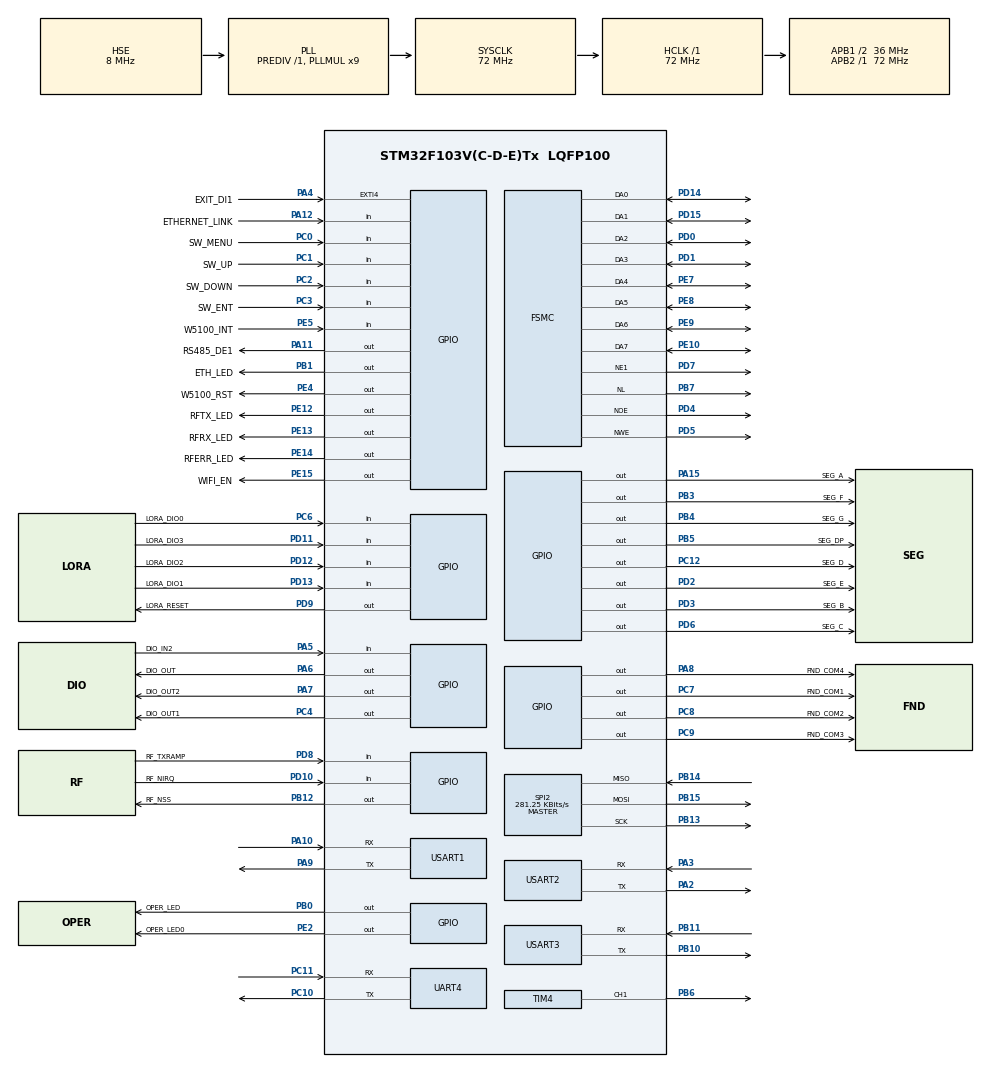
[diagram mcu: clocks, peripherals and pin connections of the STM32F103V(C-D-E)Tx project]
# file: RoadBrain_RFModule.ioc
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ADC1.Channel-0\#ChannelRegularConversion=ADC_CHANNEL_TEMPSENSOR
ADC1.Channel-1\#ChannelRegularConversion=ADC_CHANNEL_VREFINT
ADC1.ContinuousConvMode=ENABLE
ADC1.NbrOfConversion=2
ADC1.NbrOfConversionFlag=1
ADC1.Rank-0\#ChannelRegularConversion=1
ADC1.Rank-1\#ChannelRegularConversion=2
ADC1.SamplingTime-0\#ChannelRegularConversion=ADC_SAMPLETIME_28CYCLES_5
ADC1.SamplingTime-1\#ChannelRegularConversion=ADC_SAMPLETIME_28CYCLES_5
ADC1.master=1
Dma.ADC1.0.Direction=DMA_PERIPH_TO_MEMORY
Dma.ADC1.0.Instance=DMA1_Channel1
Dma.ADC1.0.MemDataAlignment=DMA_MDATAALIGN_WORD
Dma.ADC1.0.MemInc=DMA_MINC_ENABLE
Dma.ADC1.0.Mode=DMA_CIRCULAR
Dma.ADC1.0.PeriphDataAlignment=DMA_PDATAALIGN_HALFWORD
Dma.ADC1.0.PeriphInc=DMA_PINC_DISABLE
Dma.ADC1.0.Priority=DMA_PRIORITY_HIGH
Dma.Request0=ADC1
FSMC.AddressHoldTime1=1
FSMC.AddressSetupTime1=3
FSMC.BusTurnAroundDuration1=0
FSMC.DataSetupTime1=8
FSMC.WriteOperation1=FSMC_WRITE_OPERATION_ENABLE
IWDG.Prescaler=IWDG_PRESCALER_8
Mcu.Family=STM32F1
Mcu.Name=STM32F103V(C-D-E)Tx
Mcu.Package=LQFP100
NVIC.ADC1_2_IRQn=true\:0\:0\:false\:false\:true\:true\:true\:true
NVIC.DMA1_Channel1_IRQn=true\:0\:0\:false\:false\:true\:false\:true\:true
NVIC.EXTI4_IRQn=true\:0\:0\:false\:false\:true\:true\:true\:true
NVIC.PriorityGroup=NVIC_PRIORITYGROUP_4
NVIC.UART4_IRQn=true\:0\:0\:false\:false\:true\:true\:false\:true
NVIC.USART1_IRQn=true\:0\:0\:false\:false\:true\:true\:false\:true
NVIC.USART2_IRQn=true\:0\:0\:false\:false\:true\:true\:false\:true
NVIC.USART3_IRQn=true\:0\:0\:false\:false\:true\:true\:false\:true
OSC_IN.Mode=HSE-External-Oscillator
OSC_IN.Signal=RCC_OSC_IN
OSC_OUT.Mode=HSE-External-Oscillator
OSC_OUT.Signal=RCC_OSC_OUT
PA10.GPIO_PuPd=GPIO_PULLUP
PA10.Mode=Asynchronous
PA10.Signal=USART1_RX
PA11.GPIO_Label=RS485_DE1
PA11.GPIO_PuPd=GPIO_PULLDOWN
PA11.GPIO_Speed=GPIO_SPEED_FREQ_HIGH
PA11.Signal=GPIO_Output
PA12.GPIO_Label=ETHERNET_LINK
PA12.GPIO_PuPd=GPIO_PULLUP
PA12.Signal=GPIO_Input
PA13.Mode=Serial_Wire
PA13.Signal=SYS_JTMS-SWDIO
PA14.Mode=Serial_Wire
PA14.Signal=SYS_JTCK-SWCLK
PA15.GPIO_Label=SEG_A
PA15.GPIO_PuPd=GPIO_PULLUP
PA15.GPIO_Speed=GPIO_SPEED_FREQ_HIGH
PA15.PinState=GPIO_PIN_SET
PA15.Signal=GPIO_Output
PA2.Mode=Asynchronous
PA2.Signal=USART2_TX
PA3.GPIO_PuPd=GPIO_PULLUP
PA3.Mode=Asynchronous
PA3.Signal=USART2_RX
PA4.GPIO_Label=EXIT_DI1
PA4.GPIO_ModeDefaultEXTI=GPIO_MODE_IT_RISING
PA4.Signal=GPXTI4
PA5.GPIO_Label=DIO_IN2
PA5.GPIO_PuPd=GPIO_PULLUP
PA5.Signal=GPIO_Input
PA6.GPIO_Label=DIO_OUT
PA6.GPIO_PuPd=GPIO_PULLUP
PA6.GPIO_Speed=GPIO_SPEED_FREQ_HIGH
PA6.PinState=GPIO_PIN_SET
PA6.Signal=GPIO_Output
PA7.GPIO_Label=DIO_OUT2
PA7.GPIO_PuPd=GPIO_PULLUP
PA7.GPIO_Speed=GPIO_SPEED_FREQ_HIGH
PA7.PinState=GPIO_PIN_SET
PA7.Signal=GPIO_Output
PA8.GPIO_Label=FND_COM4
PA8.GPIO_PuPd=GPIO_PULLUP
PA8.GPIO_Speed=GPIO_SPEED_FREQ_HIGH
PA8.PinState=GPIO_PIN_SET
PA8.Signal=GPIO_Output
PA9.Mode=Asynchronous
PA9.Signal=USART1_TX
PB0.GPIO_Label=OPER_LED
PB0.GPIO_PuPd=GPIO_PULLUP
PB0.GPIO_Speed=GPIO_SPEED_FREQ_HIGH
PB0.PinState=GPIO_PIN_SET
PB0.Signal=GPIO_Output
PB1.GPIO_Label=ETH_LED
PB1.GPIO_PuPd=GPIO_PULLUP
PB1.GPIO_Speed=GPIO_SPEED_FREQ_HIGH
PB1.PinState=GPIO_PIN_SET
PB1.Signal=GPIO_Output
PB10.Mode=Asynchronous
PB10.Signal=USART3_TX
PB11.GPIO_PuPd=GPIO_PULLUP
PB11.Mode=Asynchronous
PB11.Signal=USART3_RX
PB12.GPIO_Label=RF_NSS
PB12.GPIO_PuPd=GPIO_PULLUP
PB12.GPIO_Speed=GPIO_SPEED_FREQ_HIGH
PB12.PinState=GPIO_PIN_SET
PB12.Signal=GPIO_Output
PB13.Mode=Full_Duplex_Master
PB13.Signal=SPI2_SCK
PB14.Mode=Full_Duplex_Master
PB14.Signal=SPI2_MISO
PB15.Mode=Full_Duplex_Master
PB15.Signal=SPI2_MOSI
PB3.GPIO_Label=SEG_F
PB3.GPIO_PuPd=GPIO_PULLUP
PB3.GPIO_Speed=GPIO_SPEED_FREQ_HIGH
PB3.PinState=GPIO_PIN_SET
PB3.Signal=GPIO_Output
PB4.GPIO_Label=SEG_G
PB4.GPIO_PuPd=GPIO_PULLUP
PB4.GPIO_Speed=GPIO_SPEED_FREQ_HIGH
PB4.PinState=GPIO_PIN_SET
PB4.Signal=GPIO_Output
PB5.GPIO_Label=SEG_DP
PB5.GPIO_PuPd=GPIO_PULLUP
PB5.GPIO_Speed=GPIO_SPEED_FREQ_HIGH
PB5.PinState=GPIO_PIN_SET
PB5.Signal=GPIO_Output
PB6.Signal=S_TIM4_CH1
PB7.Signal=FSMC_NL
PC0.GPIO_Label=SW_MENU
PC0.GPIO_PuPd=GPIO_PULLUP
PC0.Signal=GPIO_Input
PC1.GPIO_Label=SW_UP
PC1.GPIO_PuPd=GPIO_PULLUP
PC1.Signal=GPIO_Input
PC10.Mode=Asynchronous
PC10.Signal=UART4_TX
PC11.GPIO_PuPd=GPIO_PULLUP
PC11.Mode=Asynchronous
PC11.Signal=UART4_RX
PC12.GPIO_Label=SEG_D
PC12.GPIO_PuPd=GPIO_PULLUP
PC12.GPIO_Speed=GPIO_SPEED_FREQ_HIGH
PC12.PinState=GPIO_PIN_SET
PC12.Signal=GPIO_Output
PC2.GPIO_Label=SW_DOWN
PC2.GPIO_PuPd=GPIO_PULLUP
PC2.Signal=GPIO_Input
PC3.GPIO_Label=SW_ENT
PC3.GPIO_PuPd=GPIO_PULLUP
PC3.Signal=GPIO_Input
PC4.GPIO_Label=DIO_OUT1
PC4.GPIO_PuPd=GPIO_PULLUP
PC4.GPIO_Speed=GPIO_SPEED_FREQ_HIGH
PC4.PinState=GPIO_PIN_SET
PC4.Signal=GPIO_Output
PC6.GPIO_Label=LORA_DIO0
PC6.GPIO_PuPd=GPIO_PULLUP
PC6.Signal=GPIO_Input
PC7.GPIO_Label=FND_COM1
PC7.GPIO_PuPd=GPIO_PULLUP
PC7.GPIO_Speed=GPIO_SPEED_FREQ_HIGH
PC7.PinState=GPIO_PIN_SET
PC7.Signal=GPIO_Output
PC8.GPIO_Label=FND_COM2
PC8.GPIO_PuPd=GPIO_PULLUP
PC8.GPIO_Speed=GPIO_SPEED_FREQ_HIGH
PC8.PinState=GPIO_PIN_SET
PC8.Signal=GPIO_Output
PC9.GPIO_Label=FND_COM3
PC9.GPIO_PuPd=GPIO_PULLUP
PC9.GPIO_Speed=GPIO_SPEED_FREQ_HIGH
PC9.PinState=GPIO_PIN_SET
PC9.Signal=GPIO_Output
PD0.Mode=8b-da1
PD0.Signal=FSMC_DA2
PD1.Mode=8b-da1
PD1.Signal=FSMC_DA3
PD10.GPIO_Label=RF_NIRQ
PD10.GPIO_PuPd=GPIO_PULLUP
PD10.Signal=GPIO_Input
PD11.GPIO_Label=LORA_DIO3
PD11.GPIO_PuPd=GPIO_PULLUP
PD11.Signal=GPIO_Input
PD12.GPIO_Label=LORA_DIO2
PD12.GPIO_PuPd=GPIO_PULLUP
PD12.Signal=GPIO_Input
PD13.GPIO_Label=LORA_DIO1
PD13.GPIO_PuPd=GPIO_PULLUP
PD13.Signal=GPIO_Input
PD14.Mode=8b-da1
PD14.Signal=FSMC_DA0
PD15.Mode=8b-da1
PD15.Signal=FSMC_DA1
PD2.GPIO_Label=SEG_E
PD2.GPIO_PuPd=GPIO_PULLUP
PD2.GPIO_Speed=GPIO_SPEED_FREQ_HIGH
PD2.PinState=GPIO_PIN_SET
PD2.Signal=GPIO_Output
PD3.GPIO_Label=SEG_B
PD3.GPIO_PuPd=GPIO_PULLUP
PD3.GPIO_Speed=GPIO_SPEED_FREQ_HIGH
PD3.PinState=GPIO_PIN_SET
PD3.Signal=GPIO_Output
PD4.Mode=MuxedNorFlash1
PD4.Signal=FSMC_NOE
PD5.Mode=MuxedNorFlash1
PD5.Signal=FSMC_NWE
PD6.GPIO_Label=SEG_C
PD6.GPIO_PuPd=GPIO_PULLUP
PD6.GPIO_Speed=GPIO_SPEED_FREQ_HIGH
PD6.PinState=GPIO_PIN_SET
PD6.Signal=GPIO_Output
PD7.Mode=NorPsramChipSelect1_1
PD7.Signal=FSMC_NE1
PD8.GPIO_Label=RF_TXRAMP
PD8.GPIO_PuPd=GPIO_PULLUP
PD8.Signal=GPIO_Input
PD9.GPIO_Label=LORA_RESET
PD9.GPIO_PuPd=GPIO_PULLUP
PD9.GPIO_Speed=GPIO_SPEED_FREQ_HIGH
PD9.PinState=GPIO_PIN_SET
PD9.Signal=GPIO_Output
PE10.Mode=8b-da1
PE10.Signal=FSMC_DA7
PE12.GPIO_Label=RFTX_LED
PE12.GPIO_PuPd=GPIO_PULLUP
PE12.GPIO_Speed=GPIO_SPEED_FREQ_HIGH
PE12.Signal=GPIO_Output
PE13.GPIO_Label=RFRX_LED
PE13.GPIO_PuPd=GPIO_PULLUP
PE13.GPIO_Speed=GPIO_SPEED_FREQ_HIGH
PE13.PinState=GPIO_PIN_SET
PE13.Signal=GPIO_Output
PE14.GPIO_Label=RFERR_LED
PE14.GPIO_PuPd=GPIO_PULLUP
PE14.GPIO_Speed=GPIO_SPEED_FREQ_HIGH
PE14.PinState=GPIO_PIN_SET
PE14.Signal=GPIO_Output
PE15.GPIO_Label=WIFI_EN
PE15.GPIO_PuPd=GPIO_PULLUP
PE15.GPIO_Speed=GPIO_SPEED_FREQ_HIGH
PE15.PinState=GPIO_PIN_SET
PE15.Signal=GPIO_Output
PE2.GPIO_Label=OPER_LED0
PE2.GPIO_PuPd=GPIO_PULLUP
PE2.GPIO_Speed=GPIO_SPEED_FREQ_HIGH
PE2.PinState=GPIO_PIN_SET
PE2.Signal=GPIO_Output
PE4.GPIO_Label=W5100_RST
PE4.GPIO_PuPd=GPIO_PULLUP
PE4.GPIO_Speed=GPIO_SPEED_FREQ_HIGH
PE4.PinState=GPIO_PIN_SET
PE4.Signal=GPIO_Output
PE5.GPIO_Label=W5100_INT
PE5.GPIO_PuPd=GPIO_PULLUP
PE5.Signal=GPIO_Input
PE7.Mode=8b-da1
PE7.Signal=FSMC_DA4
PE8.Mode=8b-da1
PE8.Signal=FSMC_DA5
PE9.Mode=8b-da1
PE9.Signal=FSMC_DA6
ProjectManager.HeapSize=0x200
ProjectManager.StackSize=0x800
ProjectManager.TargetToolchain=MDK-ARM V5.27
RCC.ADCPresc=RCC_ADCPCLK2_DIV6
RCC.AHBFreq_Value=72000000
RCC.APB1CLKDivider=RCC_HCLK_DIV2
RCC.APB1Freq_Value=36000000
RCC.APB1TimFreq_Value=72000000
RCC.APB2Freq_Value=72000000
RCC.APB2TimFreq_Value=72000000
RCC.HCLKFreq_Value=72000000
RCC.PLLMUL=RCC_PLL_MUL9
RCC.PLLSourceVirtual=RCC_PLLSOURCE_HSE
RCC.SYSCLKFreq_VALUE=72000000
RCC.SYSCLKSource=RCC_SYSCLKSOURCE_PLLCLK
RCC.USBFreq_Value=72000000
SH.FSMC_NL.0=FSMC_NL,AddressValid1
SH.S_TIM4_CH1.0=TIM4_CH1,PWM Generation1 CH1
SPI2.BaudRatePrescaler=SPI_BAUDRATEPRESCALER_128
SPI2.CalculateBaudRate=281.25 KBits/s
SPI2.Direction=SPI_DIRECTION_2LINES
SPI2.Mode=SPI_MODE_MASTER
SPI2.VirtualType=VM_MASTER
TIM4.Channel-PWM\ Generation1\ CH1=TIM_CHANNEL_1
TIM4.OCFastMode_PWM-PWM\ Generation1\ CH1=TIM_OCFAST_ENABLE
TIM4.OCMode_PWM-PWM\ Generation1\ CH1=TIM_OCMODE_PWM2
UART4.VirtualMode=Asynchronous
USART1.VirtualMode=VM_ASYNC
USART2.VirtualMode=VM_ASYNC
USART3.VirtualMode=VM_ASYNC
VP_ADC1_TempSens_Input.Mode=IN-TempSens
VP_ADC1_Vref_Input.Mode=IN-Vrefint
VP_CRC_VS_CRC.Mode=CRC_Activate
VP_IWDG_VS_IWDG.Mode=IWDG_Activate
VP_TIM4_VS_ClockSourceINT.Mode=Internal
board=custom

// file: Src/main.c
/* USER CODE BEGIN Header */
/**
  ******************************************************************************
  * @file           : main.c
  * @brief          : Main program body
  ******************************************************************************
  * @attention
  *
  * <h2><center>&copy; Copyright (c) 2020 STMicroelectronics.
  * All rights reserved.</center></h2>
  *
  * This software component is licensed by ST under BSD 3-Clause license,
  * the "License"; You may not use this file except in compliance with the
  * License. You may obtain a copy of the License at:
  *                        opensource.org/licenses/BSD-3-Clause
  *
  ******************************************************************************
  */
/*
*/
/* USER CODE END Header */
#include "main.h"

/* USER CODE BEGIN Includes */
#include "flashrom.h"
#include "debug.h"
#include "rs485.h"
#include "rs232c.h"
#include "wifi.h"
#include "rfmodule.h"
#include "mytimer.h"
#include "segment.h"
#include "repeater.h"
#include "w5100s_proc.h"
#include "buzzer.h"
#include "test.h"

/* USER CODE END Includes */

ADC_HandleTypeDef hadc1;
DMA_HandleTypeDef hdma_adc1;

CRC_HandleTypeDef hcrc;

IWDG_HandleTypeDef hiwdg;

SPI_HandleTypeDef hspi2;

TIM_HandleTypeDef htim4;

UART_HandleTypeDef huart4;
UART_HandleTypeDef huart1;
UART_HandleTypeDef huart2;
UART_HandleTypeDef huart3;

NOR_HandleTypeDef hnor1;

/* USER CODE BEGIN PV */
__IO uint32_t RegularConvData_Tab[4];
/* USER CODE END PV */

void SystemClock_Config(void);
static void MX_GPIO_Init(void);
static void MX_DMA_Init(void);
static void MX_FSMC_Init(void);
static void MX_SPI2_Init(void);
static void MX_TIM4_Init(void);
static void MX_USART1_UART_Init(void);
static void MX_USART2_UART_Init(void);
static void MX_USART3_UART_Init(void);
static void MX_ADC1_Init(void);
static void MX_CRC_Init(void);
static void MX_IWDG_Init(void);
static void MX_UART4_Init(void);

/* USER CODE BEGIN 0 */
extern	TE2PDataRec 	Flashdatarec;
extern	_Bool	flg_w5100s_init_ok;
extern	uint8_t Domain_IP[4];
extern	_Bool 	flg_testmode;
extern	_Bool 	flg_wifi_test;
extern	uint8_t  menu_key[KEY_COUNT];
/* USER CODE END 0 */

int main(void)
{

  /* MCU Configuration--------------------------------------------------------*/

  /* Reset of all peripherals, Initializes the Flash interface and the Systick. */
  HAL_Init();

  /* Configure the system clock */
  SystemClock_Config();

  /* USER CODE BEGIN SysInit */
	FlashRom_Init();
  /* USER CODE END SysInit */

  /* Initialize all configured peripherals */
  MX_GPIO_Init();
  MX_DMA_Init();
  MX_FSMC_Init();
  MX_SPI2_Init();
  MX_TIM4_Init();
  MX_USART1_UART_Init();
  MX_USART2_UART_Init();
  MX_USART3_UART_Init();
  MX_ADC1_Init();
  MX_CRC_Init();
  MX_IWDG_Init();
  MX_UART4_Init();
  /* USER CODE BEGIN 2 */
	Disp_Version();

	ERRORLED_OFF;
	WIFILED_OFF;
	CONNECTLED_OFF;
	ETHLED_OFF;

	if(ENT_BUTTON == 0)
	{
		flg_testmode = 1;

		Seg_data_set(0, 24, 0);        	//'t'
		Seg_data_set(1, 14, 0);        	//'E'
		Seg_data_set(2, 5,  0);			//'5'
		Seg_data_set(3, 24, 0);			//'t'
		Play_Buzzer(0);
		Segment_Disp();
		HAL_Delay(2000);

		menu_key[MENU_KEY] = 0;
		menu_key[ENTER_KEY] = 0;
		menu_key[UP_KEY] = 0;
		menu_key[DOWN_KEY] = 0;
	}

  /* USER CODE END 2 */

  /* Infinite loop */
  /* USER CODE BEGIN WHILE */
	mprintf("System clock = %dMhz\n", SystemCoreClock / 1000000);
	mprintf("Build Date: %s %s\n", __DATE__, __TIME__);

  while (1)
  {
	Timer_Proc();

	if(flg_testmode)
	{
		TestMode_Proc();
		if(flg_wifi_test)
			Wifi_proc();
	}
	else
	{
		InputKey_Proc();
		Repeater_Proc();
		Disp_Segment();
		Debug_proc();
		Rs485_proc();

		Output_Proc();
		Wifi_proc();
		Rs232c_proc();
	}
	Tcp_Proc();

    /* USER CODE END WHILE */

  }
}

void SystemClock_Config(void)
{
  RCC_OscInitTypeDef RCC_OscInitStruct = {0};
  RCC_ClkInitTypeDef RCC_ClkInitStruct = {0};
  RCC_PeriphCLKInitTypeDef PeriphClkInit = {0};

  /** Initializes the RCC Oscillators according to the specified parameters
  * in the RCC_OscInitTypeDef structure.
  */
  RCC_OscInitStruct.OscillatorType = RCC_OSCILLATORTYPE_LSI|RCC_OSCILLATORTYPE_HSE;
  RCC_OscInitStruct.HSEState = RCC_HSE_ON;
  RCC_OscInitStruct.HSEPredivValue = RCC_HSE_PREDIV_DIV1;
  RCC_OscInitStruct.HSIState = RCC_HSI_ON;
  RCC_OscInitStruct.LSIState = RCC_LSI_ON;
  RCC_OscInitStruct.PLL.PLLState = RCC_PLL_ON;
  RCC_OscInitStruct.PLL.PLLSource = RCC_PLLSOURCE_HSE;
  RCC_OscInitStruct.PLL.PLLMUL = RCC_PLL_MUL9;
  if (HAL_RCC_OscConfig(&RCC_OscInitStruct) != HAL_OK)
  {
    Error_Handler();
  }

  /** Initializes the CPU, AHB and APB buses clocks
  */
  RCC_ClkInitStruct.ClockType = RCC_CLOCKTYPE_HCLK|RCC_CLOCKTYPE_SYSCLK
                              |RCC_CLOCKTYPE_PCLK1|RCC_CLOCKTYPE_PCLK2;
  RCC_ClkInitStruct.SYSCLKSource = RCC_SYSCLKSOURCE_PLLCLK;
  RCC_ClkInitStruct.AHBCLKDivider = RCC_SYSCLK_DIV1;
  RCC_ClkInitStruct.APB1CLKDivider = RCC_HCLK_DIV2;
  RCC_ClkInitStruct.APB2CLKDivider = RCC_HCLK_DIV1;

  if (HAL_RCC_ClockConfig(&RCC_ClkInitStruct, FLASH_LATENCY_2) != HAL_OK)
  {
    Error_Handler();
  }
  PeriphClkInit.PeriphClockSelection = RCC_PERIPHCLK_ADC;
  PeriphClkInit.AdcClockSelection = RCC_ADCPCLK2_DIV6;
  if (HAL_RCCEx_PeriphCLKConfig(&PeriphClkInit) != HAL_OK)
  {
    Error_Handler();
  }
}

static void MX_ADC1_Init(void)
{

  ADC_ChannelConfTypeDef sConfig = {0};

  /** Common config
  */
  hadc1.Instance = ADC1;
  hadc1.Init.ScanConvMode = ADC_SCAN_ENABLE;
  hadc1.Init.ContinuousConvMode = ENABLE;
  hadc1.Init.DiscontinuousConvMode = DISABLE;
  hadc1.Init.ExternalTrigConv = ADC_SOFTWARE_START;
  hadc1.Init.DataAlign = ADC_DATAALIGN_RIGHT;
  hadc1.Init.NbrOfConversion = 2;
  if (HAL_ADC_Init(&hadc1) != HAL_OK)
  {
    Error_Handler();
  }

  /** Configure Regular Channel
  */
  sConfig.Channel = ADC_CHANNEL_TEMPSENSOR;
  sConfig.Rank = ADC_REGULAR_RANK_1;
  sConfig.SamplingTime = ADC_SAMPLETIME_28CYCLES_5;
  if (HAL_ADC_ConfigChannel(&hadc1, &sConfig) != HAL_OK)
  {
    Error_Handler();
  }

  /** Configure Regular Channel
  */
  sConfig.Channel = ADC_CHANNEL_VREFINT;
  sConfig.Rank = ADC_REGULAR_RANK_2;
  if (HAL_ADC_ConfigChannel(&hadc1, &sConfig) != HAL_OK)
  {
    Error_Handler();
  }
  /* USER CODE BEGIN ADC1_Init 2 */
  HAL_ADCEx_Calibration_Start(&hadc1);
  while(HAL_ADC_GetState(&hadc1) != HAL_ADC_STATE_READY);
  HAL_ADC_Start_DMA(&hadc1, (uint32_t *)RegularConvData_Tab, 2);

  /* USER CODE END ADC1_Init 2 */

}

static void MX_CRC_Init(void)
{

  hcrc.Instance = CRC;
  if (HAL_CRC_Init(&hcrc) != HAL_OK)
  {
    Error_Handler();
  }

}

static void MX_IWDG_Init(void)
{

  hiwdg.Instance = IWDG;
  hiwdg.Init.Prescaler = IWDG_PRESCALER_8;
  hiwdg.Init.Reload = 4095;
  if (HAL_IWDG_Init(&hiwdg) != HAL_OK)
  {
    Error_Handler();
  }
  /* USER CODE BEGIN IWDG_Init 2 */
	HAL_IWDG_Refresh(&hiwdg);
  /* USER CODE END IWDG_Init 2 */

}

static void MX_SPI2_Init(void)
{

  /* SPI2 parameter configuration*/
  hspi2.Instance = SPI2;
  hspi2.Init.Mode = SPI_MODE_MASTER;
  hspi2.Init.Direction = SPI_DIRECTION_2LINES;
  hspi2.Init.DataSize = SPI_DATASIZE_8BIT;
  hspi2.Init.CLKPolarity = SPI_POLARITY_LOW;
  hspi2.Init.CLKPhase = SPI_PHASE_1EDGE;
  hspi2.Init.NSS = SPI_NSS_SOFT;
  hspi2.Init.BaudRatePrescaler = SPI_BAUDRATEPRESCALER_128;
  hspi2.Init.FirstBit = SPI_FIRSTBIT_MSB;
  hspi2.Init.TIMode = SPI_TIMODE_DISABLE;
  hspi2.Init.CRCCalculation = SPI_CRCCALCULATION_DISABLE;
  hspi2.Init.CRCPolynomial = 10;
  if (HAL_SPI_Init(&hspi2) != HAL_OK)
  {
    Error_Handler();
  }

}

static void MX_TIM4_Init(void)
{

  TIM_ClockConfigTypeDef sClockSourceConfig = {0};
  TIM_MasterConfigTypeDef sMasterConfig = {0};
  TIM_OC_InitTypeDef sConfigOC = {0};

  htim4.Instance = TIM4;
  htim4.Init.Prescaler = 0;
  htim4.Init.CounterMode = TIM_COUNTERMODE_UP;
  htim4.Init.Period = 65535;
  htim4.Init.ClockDivision = TIM_CLOCKDIVISION_DIV1;
  htim4.Init.AutoReloadPreload = TIM_AUTORELOAD_PRELOAD_DISABLE;
  if (HAL_TIM_Base_Init(&htim4) != HAL_OK)
  {
    Error_Handler();
  }
  sClockSourceConfig.ClockSource = TIM_CLOCKSOURCE_INTERNAL;
  if (HAL_TIM_ConfigClockSource(&htim4, &sClockSourceConfig) != HAL_OK)
  {
    Error_Handler();
  }
  if (HAL_TIM_PWM_Init(&htim4) != HAL_OK)
  {
    Error_Handler();
  }
  sMasterConfig.MasterOutputTrigger = TIM_TRGO_RESET;
  sMasterConfig.MasterSlaveMode = TIM_MASTERSLAVEMODE_DISABLE;
  if (HAL_TIMEx_MasterConfigSynchronization(&htim4, &sMasterConfig) != HAL_OK)
  {
    Error_Handler();
  }
  sConfigOC.OCMode = TIM_OCMODE_PWM2;
  sConfigOC.Pulse = 0;
  sConfigOC.OCPolarity = TIM_OCPOLARITY_HIGH;
  sConfigOC.OCFastMode = TIM_OCFAST_ENABLE;
  if (HAL_TIM_PWM_ConfigChannel(&htim4, &sConfigOC, TIM_CHANNEL_1) != HAL_OK)
  {
    Error_Handler();
  }
  HAL_TIM_MspPostInit(&htim4);

}

static void MX_UART4_Init(void)
{

  huart4.Instance = UART4;
  huart4.Init.BaudRate = Flashdatarec.e2p_232_baudrate;
  huart4.Init.WordLength = UART_WORDLENGTH_8B;
  huart4.Init.StopBits = UART_STOPBITS_1;
  huart4.Init.Parity = UART_PARITY_NONE;
  huart4.Init.Mode = UART_MODE_TX_RX;
  huart4.Init.HwFlowCtl = UART_HWCONTROL_NONE;
  huart4.Init.OverSampling = UART_OVERSAMPLING_16;
  if (HAL_UART_Init(&huart4) != HAL_OK)
  {
    Error_Handler();
  }
  /* USER CODE BEGIN UART4_Init 2 */
	SET_BIT(UART4->CR1, USART_CR1_RXNEIE);
  /* USER CODE END UART4_Init 2 */

}

static void MX_USART1_UART_Init(void)
{

  huart1.Instance = USART1;
  huart1.Init.BaudRate = Flashdatarec.e2p_baudrate;
  huart1.Init.WordLength = UART_WORDLENGTH_8B;
  huart1.Init.StopBits = UART_STOPBITS_1;
  huart1.Init.Parity = UART_PARITY_NONE;
  huart1.Init.Mode = UART_MODE_TX_RX;
  huart1.Init.HwFlowCtl = UART_HWCONTROL_NONE;
  huart1.Init.OverSampling = UART_OVERSAMPLING_16;
  if (HAL_UART_Init(&huart1) != HAL_OK)
  {
    Error_Handler();
  }
  /* USER CODE BEGIN USART1_Init 2 */
	SET_BIT(USART1->CR1, USART_CR1_RXNEIE);
  /* USER CODE END USART1_Init 2 */

}

static void MX_USART2_UART_Init(void)
{

  huart2.Instance = USART2;
  huart2.Init.BaudRate = 115200;
  huart2.Init.WordLength = UART_WORDLENGTH_8B;
  huart2.Init.StopBits = UART_STOPBITS_1;
  huart2.Init.Parity = UART_PARITY_NONE;
  huart2.Init.Mode = UART_MODE_TX_RX;
  huart2.Init.HwFlowCtl = UART_HWCONTROL_NONE;
  huart2.Init.OverSampling = UART_OVERSAMPLING_16;
  if (HAL_UART_Init(&huart2) != HAL_OK)
  {
    Error_Handler();
  }
  /* USER CODE BEGIN USART2_Init 2 */
	SET_BIT(USART2->CR1, USART_CR1_RXNEIE);
  /* USER CODE END USART2_Init 2 */

}

static void MX_USART3_UART_Init(void)
{

  huart3.Instance = USART3;
  huart3.Init.BaudRate = 115200;
  huart3.Init.WordLength = UART_WORDLENGTH_8B;
  huart3.Init.StopBits = UART_STOPBITS_1;
  huart3.Init.Parity = UART_PARITY_NONE;
  huart3.Init.Mode = UART_MODE_TX_RX;
  huart3.Init.HwFlowCtl = UART_HWCONTROL_NONE;
  huart3.Init.OverSampling = UART_OVERSAMPLING_16;
  if (HAL_UART_Init(&huart3) != HAL_OK)
  {
    Error_Handler();
  }
  /* USER CODE BEGIN USART3_Init 2 */
	SET_BIT(USART3->CR1, USART_CR1_RXNEIE);
  /* USER CODE END USART3_Init 2 */

}

static void MX_DMA_Init(void)
{

  /* DMA controller clock enable */
  __HAL_RCC_DMA1_CLK_ENABLE();

  /* DMA interrupt init */
  /* DMA1_Channel1_IRQn interrupt configuration */
  HAL_NVIC_SetPriority(DMA1_Channel1_IRQn, 0, 0);
  HAL_NVIC_EnableIRQ(DMA1_Channel1_IRQn);

}

static void MX_GPIO_Init(void)
{
  GPIO_InitTypeDef GPIO_InitStruct = {0};

  /* GPIO Ports Clock Enable */
  __HAL_RCC_GPIOE_CLK_ENABLE();
  __HAL_RCC_GPIOC_CLK_ENABLE();
  __HAL_RCC_GPIOA_CLK_ENABLE();
  __HAL_RCC_GPIOB_CLK_ENABLE();
  __HAL_RCC_GPIOD_CLK_ENABLE();

  /*Configure GPIO pin Output Level */
  HAL_GPIO_WritePin(GPIOE, OPER_LED0_Pin|W5100_RST_Pin|RFRX_LED_Pin|RFERR_LED_Pin
                          |WIFI_EN_Pin, GPIO_PIN_SET);

  /*Configure GPIO pin Output Level */
  HAL_GPIO_WritePin(GPIOA, DIO_OUT_Pin|DIO_OUT2_Pin|FND_COM4_Pin|SEG_A_Pin, GPIO_PIN_SET);

  /*Configure GPIO pin Output Level */
  HAL_GPIO_WritePin(GPIOC, DIO_OUT1_Pin|FND_COM1_Pin|FND_COM2_Pin|FND_COM3_Pin
                          |SEG_D_Pin, GPIO_PIN_SET);

  /*Configure GPIO pin Output Level */
  HAL_GPIO_WritePin(GPIOB, OPER_LED_Pin|ETH_LED_Pin|RF_NSS_Pin|SEG_F_Pin
                          |SEG_G_Pin|SEG_DP_Pin, GPIO_PIN_SET);

  /*Configure GPIO pin Output Level */
  HAL_GPIO_WritePin(RFTX_LED_GPIO_Port, RFTX_LED_Pin, GPIO_PIN_RESET);

  /*Configure GPIO pin Output Level */
  HAL_GPIO_WritePin(GPIOD, LORA_RESET_Pin|SEG_E_Pin|SEG_B_Pin|SEG_C_Pin, GPIO_PIN_SET);

  /*Configure GPIO pin Output Level */
  HAL_GPIO_WritePin(RS485_DE1_GPIO_Port, RS485_DE1_Pin, GPIO_PIN_RESET);

  /*Configure GPIO pins : OPER_LED0_Pin W5100_RST_Pin RFTX_LED_Pin RFRX_LED_Pin
                           RFERR_LED_Pin WIFI_EN_Pin */
  GPIO_InitStruct.Pin = OPER_LED0_Pin|W5100_RST_Pin|RFTX_LED_Pin|RFRX_LED_Pin
                          |RFERR_LED_Pin|WIFI_EN_Pin;
  GPIO_InitStruct.Mode = GPIO_MODE_OUTPUT_PP;
  GPIO_InitStruct.Pull = GPIO_PULLUP;
  GPIO_InitStruct.Speed = GPIO_SPEED_FREQ_HIGH;
  HAL_GPIO_Init(GPIOE, &GPIO_InitStruct);

  /*Configure GPIO pin : W5100_INT_Pin */
  GPIO_InitStruct.Pin = W5100_INT_Pin;
  GPIO_InitStruct.Mode = GPIO_MODE_INPUT;
  GPIO_InitStruct.Pull = GPIO_PULLUP;
  HAL_GPIO_Init(W5100_INT_GPIO_Port, &GPIO_InitStruct);

  /*Configure GPIO pins : SW_MENU_Pin SW_UP_Pin SW_DOWN_Pin SW_ENT_Pin
                           LORA_DIO0_Pin */
  GPIO_InitStruct.Pin = SW_MENU_Pin|SW_UP_Pin|SW_DOWN_Pin|SW_ENT_Pin
                          |LORA_DIO0_Pin;
  GPIO_InitStruct.Mode = GPIO_MODE_INPUT;
  GPIO_InitStruct.Pull = GPIO_PULLUP;
  HAL_GPIO_Init(GPIOC, &GPIO_InitStruct);

  /*Configure GPIO pin : EXIT_DI1_Pin */
  GPIO_InitStruct.Pin = EXIT_DI1_Pin;
  GPIO_InitStruct.Mode = GPIO_MODE_IT_RISING;
  GPIO_InitStruct.Pull = GPIO_NOPULL;
  HAL_GPIO_Init(EXIT_DI1_GPIO_Port, &GPIO_InitStruct);

  /*Configure GPIO pins : DIO_IN2_Pin ETHERNET_LINK_Pin */
  GPIO_InitStruct.Pin = DIO_IN2_Pin|ETHERNET_LINK_Pin;
  GPIO_InitStruct.Mode = GPIO_MODE_INPUT;
  GPIO_InitStruct.Pull = GPIO_PULLUP;
  HAL_GPIO_Init(GPIOA, &GPIO_InitStruct);

  /*Configure GPIO pins : DIO_OUT_Pin DIO_OUT2_Pin FND_COM4_Pin SEG_A_Pin */
  GPIO_InitStruct.Pin = DIO_OUT_Pin|DIO_OUT2_Pin|FND_COM4_Pin|SEG_A_Pin;
  GPIO_InitStruct.Mode = GPIO_MODE_OUTPUT_PP;
  GPIO_InitStruct.Pull = GPIO_PULLUP;
  GPIO_InitStruct.Speed = GPIO_SPEED_FREQ_HIGH;
  HAL_GPIO_Init(GPIOA, &GPIO_InitStruct);

  /*Configure GPIO pins : DIO_OUT1_Pin FND_COM1_Pin FND_COM2_Pin FND_COM3_Pin
                           SEG_D_Pin */
  GPIO_InitStruct.Pin = DIO_OUT1_Pin|FND_COM1_Pin|FND_COM2_Pin|FND_COM3_Pin
                          |SEG_D_Pin;
  GPIO_InitStruct.Mode = GPIO_MODE_OUTPUT_PP;
  GPIO_InitStruct.Pull = GPIO_PULLUP;
  GPIO_InitStruct.Speed = GPIO_SPEED_FREQ_HIGH;
  HAL_GPIO_Init(GPIOC, &GPIO_InitStruct);

  /*Configure GPIO pins : OPER_LED_Pin ETH_LED_Pin RF_NSS_Pin SEG_F_Pin
                           SEG_G_Pin SEG_DP_Pin */
  GPIO_InitStruct.Pin = OPER_LED_Pin|ETH_LED_Pin|RF_NSS_Pin|SEG_F_Pin
                          |SEG_G_Pin|SEG_DP_Pin;
  GPIO_InitStruct.Mode = GPIO_MODE_OUTPUT_PP;
  GPIO_InitStruct.Pull = GPIO_PULLUP;
  GPIO_InitStruct.Speed = GPIO_SPEED_FREQ_HIGH;
  HAL_GPIO_Init(GPIOB, &GPIO_InitStruct);

  /*Configure GPIO pins : RF_TXRAMP_Pin RF_NIRQ_Pin LORA_DIO3_Pin LORA_DIO2_Pin
                           LORA_DIO1_Pin */
  GPIO_InitStruct.Pin = RF_TXRAMP_Pin|RF_NIRQ_Pin|LORA_DIO3_Pin|LORA_DIO2_Pin
                          |LORA_DIO1_Pin;
  GPIO_InitStruct.Mode = GPIO_MODE_INPUT;
  GPIO_InitStruct.Pull = GPIO_PULLUP;
  HAL_GPIO_Init(GPIOD, &GPIO_InitStruct);

  /*Configure GPIO pins : LORA_RESET_Pin SEG_E_Pin SEG_B_Pin SEG_C_Pin */
  GPIO_InitStruct.Pin = LORA_RESET_Pin|SEG_E_Pin|SEG_B_Pin|SEG_C_Pin;
  GPIO_InitStruct.Mode = GPIO_MODE_OUTPUT_PP;
  GPIO_InitStruct.Pull = GPIO_PULLUP;
  GPIO_InitStruct.Speed = GPIO_SPEED_FREQ_HIGH;
  HAL_GPIO_Init(GPIOD, &GPIO_InitStruct);

  /*Configure GPIO pin : RS485_DE1_Pin */
  GPIO_InitStruct.Pin = RS485_DE1_Pin;
  GPIO_InitStruct.Mode = GPIO_MODE_OUTPUT_PP;
  GPIO_InitStruct.Pull = GPIO_PULLDOWN;
  GPIO_InitStruct.Speed = GPIO_SPEED_FREQ_HIGH;
  HAL_GPIO_Init(RS485_DE1_GPIO_Port, &GPIO_InitStruct);

  /* EXTI interrupt init*/
  HAL_NVIC_SetPriority(EXTI4_IRQn, 0, 0);
  HAL_NVIC_EnableIRQ(EXTI4_IRQn);

}

/* FSMC initialization function */
static void MX_FSMC_Init(void)
{

  FSMC_NORSRAM_TimingTypeDef Timing = {0};

  /** Perform the NOR1 memory initialization sequence
  */
  hnor1.Instance = FSMC_NORSRAM_DEVICE;
  hnor1.Extended = FSMC_NORSRAM_EXTENDED_DEVICE;
  /* hnor1.Init */
  hnor1.Init.NSBank = FSMC_NORSRAM_BANK1;
  hnor1.Init.DataAddressMux = FSMC_DATA_ADDRESS_MUX_ENABLE;
  hnor1.Init.MemoryType = FSMC_MEMORY_TYPE_NOR;
  hnor1.Init.MemoryDataWidth = FSMC_NORSRAM_MEM_BUS_WIDTH_8;
  hnor1.Init.BurstAccessMode = FSMC_BURST_ACCESS_MODE_DISABLE;
  hnor1.Init.WaitSignalPolarity = FSMC_WAIT_SIGNAL_POLARITY_LOW;
  hnor1.Init.WrapMode = FSMC_WRAP_MODE_DISABLE;
  hnor1.Init.WaitSignalActive = FSMC_WAIT_TIMING_BEFORE_WS;
  hnor1.Init.WriteOperation = FSMC_WRITE_OPERATION_ENABLE;
  hnor1.Init.WaitSignal = FSMC_WAIT_SIGNAL_DISABLE;
  hnor1.Init.ExtendedMode = FSMC_EXTENDED_MODE_DISABLE;
  hnor1.Init.AsynchronousWait = FSMC_ASYNCHRONOUS_WAIT_DISABLE;
  hnor1.Init.WriteBurst = FSMC_WRITE_BURST_DISABLE;
  /* Timing */
  Timing.AddressSetupTime = 3;
  Timing.AddressHoldTime = 1;
  Timing.DataSetupTime = 8;
  Timing.BusTurnAroundDuration = 0;
  Timing.CLKDivision = 16;
  Timing.DataLatency = 17;
  Timing.AccessMode = FSMC_ACCESS_MODE_A;
  /* ExtTiming */

  if (HAL_NOR_Init(&hnor1, &Timing, NULL) != HAL_OK)
  {
    Error_Handler( );
  }

}

void Error_Handler(void)
{
}
